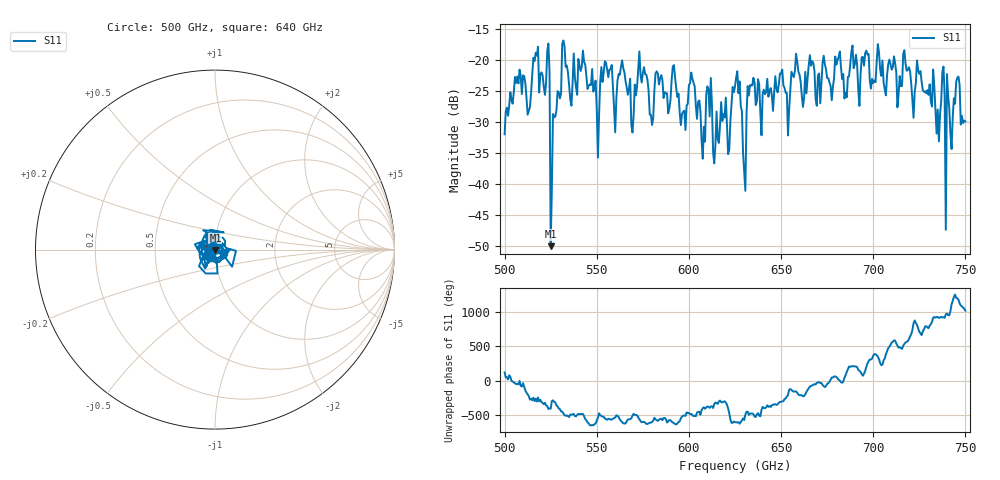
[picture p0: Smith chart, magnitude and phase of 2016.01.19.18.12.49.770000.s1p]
!Created with skrf (http://scikit-rf.org).
# GHz S RI R 50.0
!freq ReS11 ImS11
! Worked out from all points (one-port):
!   401 points, 500 GHz to 750 GHz, reference 50 ohm
!   lowest |S11| = -50.0 dB at 525 GHz (marker M1), VSWR 1.01, Z = 50.2 - j0.21 ohm
!   |S11| at or under -10 dB: start of sweep to end of sweep
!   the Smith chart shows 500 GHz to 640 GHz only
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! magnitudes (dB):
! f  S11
! 500 GHz  -32.0
! 506.9 GHz  -22.7
! 513.1 GHz  -28.2
! 516.9 GHz  -18.9
! 523.1 GHz  -18.6
! 525 GHz  -50.0
! 526.2 GHz  -28.8
! 531.2 GHz  -17.5
! 543.1 GHz  -20.4
! 550 GHz  -28.0
! 562.5 GHz  -22.4
! 570 GHz  -28.9
! 573.8 GHz  -22.5
! 579.4 GHz  -28.9
! 583.1 GHz  -22.2
! 593.8 GHz  -26.0
! 601.9 GHz  -23.1
! 607.5 GHz  -36.0
! 610.6 GHz  -24.7
! 614.4 GHz  -33.7
! 621.9 GHz  -34.5
! 625 GHz  -24.3
! 630 GHz  -38.2
! 634.4 GHz  -24.1
! 656.2 GHz  -22.4
! 687.5 GHz  -20.8
! 718.8 GHz  -21.7
! 750 GHz  -30.0
